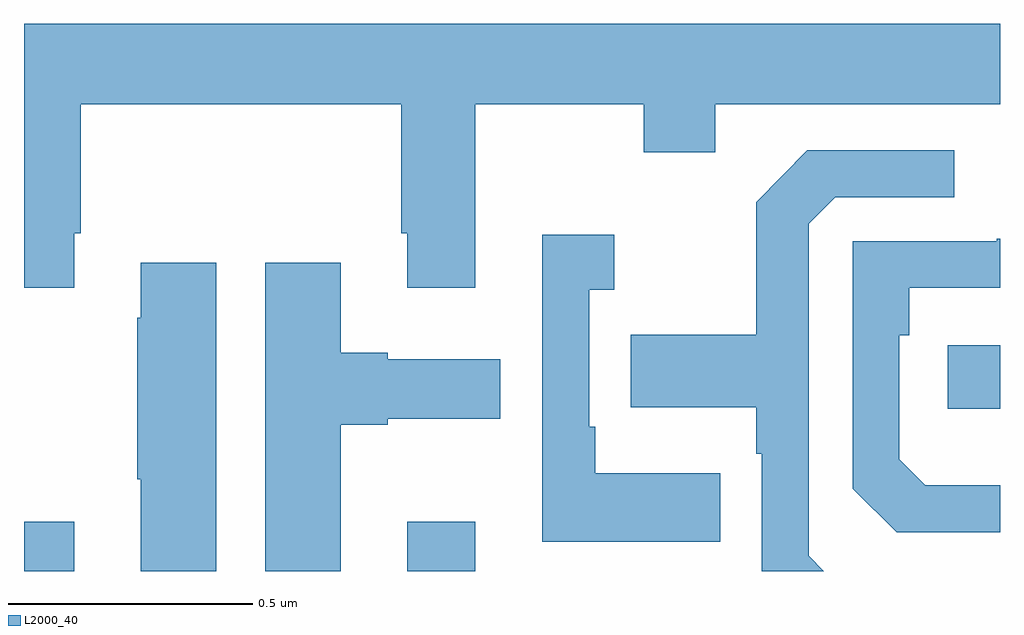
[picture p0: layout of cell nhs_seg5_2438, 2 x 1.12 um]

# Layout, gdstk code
import gdstk
lib = gdstk.Library(unit=1e-6, precision=1e-09)
def R(c, l, rs):  # rectangles x0, y0, x1, y1
    for r in rs: c.add(gdstk.rectangle(r[:2], r[2:], *l))
def P(c, l, *ps):  # polygons
    for p in ps: c.add(gdstk.Polygon(p, *l))
L2000_40 = (2000, 40)

nhs_seg5_2438 = lib.new_cell('nhs_seg5_2438')
R(nhs_seg5_2438, L2000_40, [(144,859.799,144.103,859.9), (144.785,859.799,144.925,859.9), (145.893,860.132,146,860.262)])
P(nhs_seg5_2438, L2000_40, [(144,860.379),(144.103,860.379),(144.103,860.491),(144.116,860.491),(144.116,860.756),(144.773,860.756),(144.773,860.491),(144.785,860.491),(144.785,860.379),(144.925,860.379),(144.925,860.756),(145.27,860.756),(145.27,860.657),(145.417,860.657),(145.417,860.756),(146,860.756),(146,860.92),(144,860.92)],
  [(145.608,859.83),(145.608,860.511),(145.662,860.565),(145.906,860.565),(145.906,860.661),(145.605,860.661),(145.5,860.555),(145.5,860.283),(145.243,860.283),(145.243,860.135),(145.5,860.135),(145.5,860.039),(145.512,860.039),(145.512,859.799),(145.639,859.799)],
  [(145.427,859.999),(145.171,859.999),(145.171,860.095),(145.158,860.095),(145.158,860.375),(145.21,860.375),(145.21,860.488),(145.062,860.488),(145.062,859.859),(145.427,859.859)],
  [(146,859.975),(145.847,859.975),(145.794,860.028),(145.794,860.282),(145.814,860.282),(145.814,860.379),(146,860.379),(146,860.48),(145.993,860.48),(145.993,860.475),(145.698,860.475),(145.698,859.968),(145.788,859.878),(146,859.878)],
  [(144.394,860.431),(144.239,860.431),(144.239,860.318),(144.232,860.318),(144.232,859.987),(144.239,859.987),(144.239,859.799),(144.394,859.799)],
  [(144.649,860.099),(144.745,860.099),(144.745,860.111),(144.976,860.111),(144.976,860.233),(144.745,860.233),(144.745,860.246),(144.649,860.246),(144.649,860.431),(144.494,860.431),(144.494,859.799),(144.649,859.799)])

lib.write_gds('nhs_seg5_2438.gds')
